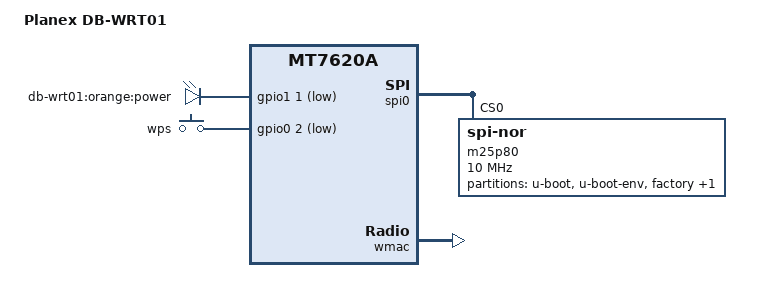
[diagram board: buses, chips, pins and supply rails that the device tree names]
/dts-v1/;

#include "mt7620a.dtsi"

#include <dt-bindings/gpio/gpio.h>
#include <dt-bindings/input/input.h>

/ {
	compatible = "planex,db-wrt01", "ralink,mt7620a-soc";
	model = "Planex DB-WRT01";

	aliases {
		led-boot = &led_power;
		led-failsafe = &led_power;
		led-running = &led_power;
		led-upgrade = &led_power;
	};

	leds {
		compatible = "gpio-leds";

		led_power: power {
			label = "db-wrt01:orange:power";
			gpios = <&gpio1 1 GPIO_ACTIVE_LOW>;
		};
	};

	keys {
		compatible = "gpio-keys-polled";
		poll-interval = <20>;

		s1 {
			label = "wps";
			gpios = <&gpio0 2 GPIO_ACTIVE_LOW>;
			linux,code = <KEY_WPS_BUTTON>;
		};
	};
};

&gpio1 {
	status = "okay";
};

&spi0 {
	status = "okay";

	m25p80@0 {
		compatible = "jedec,spi-nor";
		reg = <0>;
		spi-max-frequency = <10000000>;

		partitions {
			compatible = "fixed-partitions";
			#address-cells = <1>;
			#size-cells = <1>;

			partition@0 {
				label = "u-boot";
				reg = <0x0 0x30000>;
				read-only;
			};

			partition@30000 {
				label = "u-boot-env";
				reg = <0x30000 0x10000>;
				read-only;
			};

			factory: partition@40000 {
				label = "factory";
				reg = <0x40000 0x10000>;
				read-only;
			};

			partition@50000 {
				compatible = "denx,uimage";
				label = "firmware";
				reg = <0x50000 0x7b0000>;
			};
		};
	};
};

&pinctrl {
	state_default: pinctrl0 {
		gpio {
			ralink,group = "i2c", "spi refclk", "rgmii1";
			ralink,function = "gpio";
		};
	};
};

&ethernet {
	pinctrl-names = "default";
	pinctrl-0 = <&ephy_pins>;
	mtd-mac-address = <&factory 0x4>;
	mediatek,portmap = "llllw";
};

&gsw {
	mediatek,port4 = "ephy";
};

&wmac {
	ralink,mtd-eeprom = <&factory 0>;
};
